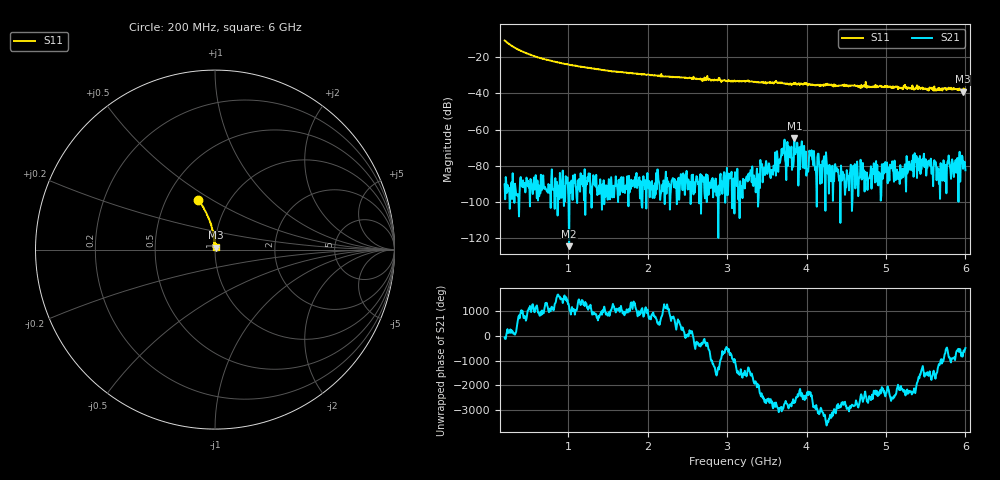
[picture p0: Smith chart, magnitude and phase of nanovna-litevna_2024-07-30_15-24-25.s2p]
! NanoVNA-App by OneOfEleven et al v1.1.209 (+OD15)
! Date: 2024-07-30 15:24:30
! Start: 200MHz Stop: 6GHz Points: 801
! S-Parameter data: F S11 S21 S12 S22
# Hz S RI R 50
!  Frequency  S11_Real  S11_Imag  S21_Real  S21_Imag  S12_Real  S12_Imag  S22_Real  S22_Imag
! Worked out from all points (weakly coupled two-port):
!   801 points, 200 MHz to 6 GHz, reference 50 ohm
!   highest |S21| = -64.67 dB at 3.847 GHz (marker M1); lowest = -124.3 dB at 1.012 GHz (marker M2)
!   lowest |S11| = -39.0 dB at 5.964 GHz (marker M3), VSWR 1.02, Z = 50.5 + j1 ohm
!   |S11| at or under -10 dB: start of sweep to end of sweep
!   S12 and S22 are empty: the file has one direction only
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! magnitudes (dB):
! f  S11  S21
! 200 MHz  -10.8  -90.3
! 519 MHz  -18.5  -102.4
! 1.012 GHz  -24.2  -124.3
! 1.171 GHz  -25.4  -89.1
! 2.136 GHz  -30.1  -87.5
! 3.1 GHz  -33.3  -83.5
! 3.571 GHz  -34.3  -82.2
! 3.702 GHz  -34.4  -70.4
! 3.847 GHz  -34.9  -64.7
! 3.861 GHz  -34.1  -73.6
! 3.941 GHz  -34.9  -66.5
! 4.006 GHz  -34.9  -81.7
! 4.072 GHz  -35.1  -76.5
! 4.101 GHz  -35.5  -77.7
! 4.231 GHz  -35.1  -84.7
! 4.289 GHz  -35.2  -79.4
! 5.036 GHz  -36.6  -81.8
! 5.304 GHz  -37.4  -82.2
! 5.369 GHz  -37.1  -77.6
! 5.667 GHz  -38.1  -89.9
! 5.964 GHz  -39.0  -75.0
! 6 GHz  -37.8  -82.4
